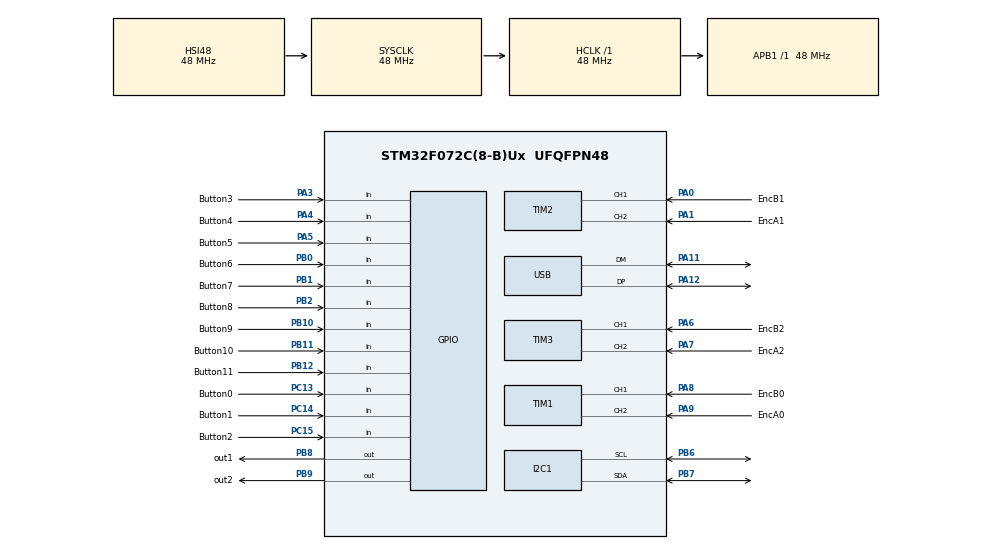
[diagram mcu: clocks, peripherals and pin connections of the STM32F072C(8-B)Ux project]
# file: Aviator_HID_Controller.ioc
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I2C1.Timing=0x00201D2B
Mcu.Family=STM32F0
Mcu.Name=STM32F072C(8-B)Ux
Mcu.Package=UFQFPN48
NVIC.USB_IRQn=true\:0\:0\:false\:false\:true\:false\:true\:true
PA0.GPIO_Label=EncB1
PA0.Signal=S_TIM2_CH1_ETR
PA1.GPIO_Label=EncA1
PA1.Signal=S_TIM2_CH2
PA11.Mode=Device
PA11.Signal=USB_DM
PA12.Mode=Device
PA12.Signal=USB_DP
PA13.Mode=Serial_Wire
PA13.Signal=SYS_SWDIO
PA14.Mode=Serial_Wire
PA14.Signal=SYS_SWCLK
PA3.GPIO_Label=Button3
PA3.GPIO_PuPd=GPIO_PULLUP
PA3.Signal=GPIO_Input
PA4.GPIO_Label=Button4
PA4.GPIO_PuPd=GPIO_PULLUP
PA4.Signal=GPIO_Input
PA5.GPIO_Label=Button5
PA5.GPIO_PuPd=GPIO_PULLUP
PA5.Signal=GPIO_Input
PA6.GPIO_Label=EncB2
PA6.Signal=S_TIM3_CH1
PA7.GPIO_Label=EncA2
PA7.Signal=S_TIM3_CH2
PA8.GPIO_Label=EncB0
PA8.Signal=S_TIM1_CH1
PA9.GPIO_Label=EncA0
PA9.Signal=S_TIM1_CH2
PB0.GPIO_Label=Button6
PB0.GPIO_PuPd=GPIO_PULLUP
PB0.Signal=GPIO_Input
PB1.GPIO_Label=Button7
PB1.GPIO_PuPd=GPIO_PULLUP
PB1.Signal=GPIO_Input
PB10.GPIO_Label=Button9
PB10.GPIO_PuPd=GPIO_PULLUP
PB10.Signal=GPIO_Input
PB11.GPIO_Label=Button10
PB11.GPIO_PuPd=GPIO_PULLUP
PB11.Signal=GPIO_Input
PB12.GPIO_Label=Button11
PB12.GPIO_PuPd=GPIO_PULLUP
PB12.Signal=GPIO_Input
PB2.GPIO_Label=Button8
PB2.GPIO_PuPd=GPIO_PULLUP
PB2.Signal=GPIO_Input
PB6.Mode=I2C
PB6.Signal=I2C1_SCL
PB7.Mode=I2C
PB7.Signal=I2C1_SDA
PB8.GPIO_Label=out1
PB8.Signal=GPIO_Output
PB9.GPIO_Label=out2
PB9.Signal=GPIO_Output
PC13.GPIO_Label=Button0
PC13.GPIO_PuPd=GPIO_PULLUP
PC13.Signal=GPIO_Input
PC14-OSC32_IN.GPIO_Label=Button1
PC14-OSC32_IN.GPIO_PuPd=GPIO_PULLUP
PC14-OSC32_IN.Signal=GPIO_Input
PC15-OSC32_OUT.GPIO_Label=Button2
PC15-OSC32_OUT.GPIO_PuPd=GPIO_PULLUP
PC15-OSC32_OUT.Signal=GPIO_Input
PF0-OSC_IN.Mode=HSE-External-Oscillator
PF0-OSC_IN.Signal=RCC_OSC_IN
PF1-OSC_OUT.Mode=HSE-External-Oscillator
PF1-OSC_OUT.Signal=RCC_OSC_OUT
ProjectManager.HeapSize=0x200
ProjectManager.StackSize=0x400
ProjectManager.TargetToolchain=STM32CubeIDE
RCC.AHBFreq_Value=48000000
RCC.APB1Freq_Value=48000000
RCC.APB1TimFreq_Value=48000000
RCC.HCLKFreq_Value=48000000
RCC.SYSCLKFreq_VALUE=48000000
RCC.SYSCLKSource=RCC_SYSCLKSOURCE_HSI48
SH.S_TIM1_CH1.0=TIM1_CH1,Encoder_Interface
SH.S_TIM1_CH2.0=TIM1_CH2,Encoder_Interface
SH.S_TIM2_CH1_ETR.0=TIM2_CH1,Encoder_Interface
SH.S_TIM2_CH2.0=TIM2_CH2,Encoder_Interface
SH.S_TIM3_CH1.0=TIM3_CH1,Encoder_Interface
SH.S_TIM3_CH2.0=TIM3_CH2,Encoder_Interface
USB_DEVICE.CLASS_NAME_FS=HID
USB_DEVICE.PRODUCT_STRING_HID_FS=STM32 Keyboard 1
USB_DEVICE.VirtualMode=Hid
USB_DEVICE.VirtualModeFS=Hid_FS
VP_USB_DEVICE_VS_USB_DEVICE_HID_FS.Mode=HID_FS
board=custom

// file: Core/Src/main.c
/* USER CODE BEGIN Header */
/**
  ******************************************************************************
  * @file           : main.c
  * @brief          : Main program body
  ******************************************************************************
  * @attention
  *
  * Copyright (c) 2024 STMicroelectronics.
  * All rights reserved.
  *
  * This software is licensed under terms that can be found in the LICENSE file
  * in the root directory of this software component.
  * If no LICENSE file comes with this software, it is provided AS-IS.
  *
  ******************************************************************************
  */
/* USER CODE END Header */
#include "main.h"
#include "usb_device.h"

/* USER CODE BEGIN Includes */
#include "usbd_hid.h"
#include "keyboard_Report_Descriptor.h"
#include <stdbool.h>
/* USER CODE END Includes */

/* USER CODE BEGIN PD */
#define DEBOUNCE_DELAY_MS 100
/* USER CODE END PD */

I2C_HandleTypeDef hi2c1;

TIM_HandleTypeDef htim1;
TIM_HandleTypeDef htim2;
TIM_HandleTypeDef htim3;

/* USER CODE BEGIN PV */
typedef enum {
    KEYCODE_A = 0x04,  // Button0
    KEYCODE_B = 0x05,  // Button1
    KEYCODE_C = 0x06,  // Button2
    KEYCODE_D = 0x07,  // Button3
    KEYCODE_E = 0x08,  // Button4
    KEYCODE_F = 0x09,  // Button5
    KEYCODE_G = 0x0A,  // Button6
    KEYCODE_H = 0x0B,  // Button7
    KEYCODE_I = 0x0C,  // Button8
    KEYCODE_J = 0x0D,  // Button9
    KEYCODE_K = 0x0E,  // Button10
    KEYCODE_L = 0x0F,  // Button11
    KEYCODE_NONE = 0x00 // No key
} KeyCode;

extern USBD_HandleTypeDef hUsbDeviceFS;

typedef struct
{
	uint8_t MODIFIER;
	uint8_t RESERVED;
	uint8_t KEYCODE1;
	uint8_t KEYCODE2;
	uint8_t KEYCODE3;
	uint8_t KEYCODE4;
	uint8_t KEYCODE5;
	uint8_t KEYCODE6;
}subKeyBoard;

subKeyBoard keyBoardHIDsub = {0,0,0,0,0,0,0,0};

typedef struct
{
    GPIO_TypeDef* port;
    uint16_t pin;
    uint8_t keycode;
} ButtonConfig;

ButtonConfig buttonConfigs[] =
{
    {Button0_GPIO_Port, Button0_Pin, KEYCODE_A},
    {Button1_GPIO_Port, Button1_Pin, KEYCODE_B},
    {Button2_GPIO_Port, Button2_Pin, KEYCODE_C},
    {Button3_GPIO_Port, Button3_Pin, KEYCODE_D},
    {Button4_GPIO_Port, Button4_Pin, KEYCODE_E},
    {Button5_GPIO_Port, Button5_Pin, KEYCODE_F},
    {Button6_GPIO_Port, Button6_Pin, KEYCODE_G},
    {Button7_GPIO_Port, Button7_Pin, KEYCODE_H},
    {Button8_GPIO_Port, Button8_Pin, KEYCODE_I},
    {Button9_GPIO_Port, Button9_Pin, KEYCODE_J},
    {Button10_GPIO_Port, Button10_Pin, KEYCODE_K},
    {Button11_GPIO_Port, Button11_Pin, KEYCODE_L}
};

/* USER CODE END PV */

void SystemClock_Config(void);
static void MX_GPIO_Init(void);
static void MX_I2C1_Init(void);
static void MX_TIM1_Init(void);
static void MX_TIM2_Init(void);
static void MX_TIM3_Init(void);

int main(void)
{

  /* MCU Configuration--------------------------------------------------------*/

  /* Reset of all peripherals, Initializes the Flash interface and the Systick. */
  HAL_Init();

  /* Configure the system clock */
  SystemClock_Config();

  /* Initialize all configured peripherals */
  MX_GPIO_Init();
  MX_I2C1_Init();
  MX_TIM1_Init();
  MX_TIM2_Init();
  MX_TIM3_Init();
  MX_USB_DEVICE_Init();
  /* USER CODE BEGIN 2 */

  // Start all timers
  HAL_TIM_Encoder_Start(&htim1, TIM_CHANNEL_ALL);
  HAL_TIM_Encoder_Start(&htim2, TIM_CHANNEL_ALL);
  HAL_TIM_Encoder_Start(&htim3, TIM_CHANNEL_ALL);

  // Store the values of timer counters
  uint32_t Enc0 = TIM1->CNT;
  uint32_t Enc1 = TIM2->CNT;
  uint32_t Enc2 = TIM3->CNT;

  /* USER CODE END 2 */

  /* Infinite loop */
  /* USER CODE BEGIN WHILE */

  volatile uint16_t debounceDelay = DEBOUNCE_DELAY_MS; // Debounce delay in ms

  while (1)
  {
    // Read encoder values and send corresponding key press
    if(TIM1->CNT > Enc0)
    {
        Enc0 = TIM1->CNT;
        keyBoardHIDsub.KEYCODE1 = 0x1E;  // Press 1 key
        USBD_HID_SendReport(&hUsbDeviceFS, &keyBoardHIDsub, sizeof(keyBoardHIDsub));
    }
    if(TIM1->CNT < Enc0)
    {
        Enc0 = TIM1->CNT;
        keyBoardHIDsub.KEYCODE1 = 0x1F;  // Press 2 key
        USBD_HID_SendReport(&hUsbDeviceFS, &keyBoardHIDsub, sizeof(keyBoardHIDsub));
    }
    if(TIM2->CNT > Enc1)
    {
        Enc1 = TIM2->CNT;
        keyBoardHIDsub.KEYCODE1 = 0x20;  // Press 3 key
        USBD_HID_SendReport(&hUsbDeviceFS, &keyBoardHIDsub, sizeof(keyBoardHIDsub));
    }
    if(TIM2->CNT < Enc1)
    {
        Enc1 = TIM2->CNT;
        keyBoardHIDsub.KEYCODE1 = 0x21;  // Press 4 key
        USBD_HID_SendReport(&hUsbDeviceFS, &keyBoardHIDsub, sizeof(keyBoardHIDsub));
    }
    if(TIM3->CNT > Enc2)
    {
        Enc2 = TIM3->CNT;
        keyBoardHIDsub.KEYCODE1 = 0x22;  // Press 5 key
        USBD_HID_SendReport(&hUsbDeviceFS, &keyBoardHIDsub, sizeof(keyBoardHIDsub));
    }
    if(TIM3->CNT < Enc2)
    {
        Enc2 = TIM3->CNT;
        keyBoardHIDsub.KEYCODE1 = 0x23;  // Press 6 key
        USBD_HID_SendReport(&hUsbDeviceFS, &keyBoardHIDsub, sizeof(keyBoardHIDsub));
    }

    // Buttons

    checkAndDebounceButtonPresses();

    HAL_Delay(50); // Main loop delay
  }
    /* USER CODE END WHILE */

}

void SystemClock_Config(void)
{
  RCC_OscInitTypeDef RCC_OscInitStruct = {0};
  RCC_ClkInitTypeDef RCC_ClkInitStruct = {0};
  RCC_PeriphCLKInitTypeDef PeriphClkInit = {0};

  /** Initializes the RCC Oscillators according to the specified parameters
  * in the RCC_OscInitTypeDef structure.
  */
  RCC_OscInitStruct.OscillatorType = RCC_OSCILLATORTYPE_HSI|RCC_OSCILLATORTYPE_HSI48;
  RCC_OscInitStruct.HSIState = RCC_HSI_ON;
  RCC_OscInitStruct.HSI48State = RCC_HSI48_ON;
  RCC_OscInitStruct.HSICalibrationValue = RCC_HSICALIBRATION_DEFAULT;
  RCC_OscInitStruct.PLL.PLLState = RCC_PLL_NONE;
  if (HAL_RCC_OscConfig(&RCC_OscInitStruct) != HAL_OK)
  {
    Error_Handler();
  }

  /** Initializes the CPU, AHB and APB buses clocks
  */
  RCC_ClkInitStruct.ClockType = RCC_CLOCKTYPE_HCLK|RCC_CLOCKTYPE_SYSCLK
                              |RCC_CLOCKTYPE_PCLK1;
  RCC_ClkInitStruct.SYSCLKSource = RCC_SYSCLKSOURCE_HSI48;
  RCC_ClkInitStruct.AHBCLKDivider = RCC_SYSCLK_DIV1;
  RCC_ClkInitStruct.APB1CLKDivider = RCC_HCLK_DIV1;

  if (HAL_RCC_ClockConfig(&RCC_ClkInitStruct, FLASH_LATENCY_1) != HAL_OK)
  {
    Error_Handler();
  }
  PeriphClkInit.PeriphClockSelection = RCC_PERIPHCLK_USB|RCC_PERIPHCLK_I2C1;
  PeriphClkInit.I2c1ClockSelection = RCC_I2C1CLKSOURCE_HSI;
  PeriphClkInit.UsbClockSelection = RCC_USBCLKSOURCE_HSI48;

  if (HAL_RCCEx_PeriphCLKConfig(&PeriphClkInit) != HAL_OK)
  {
    Error_Handler();
  }
}

static void MX_I2C1_Init(void)
{

  hi2c1.Instance = I2C1;
  hi2c1.Init.Timing = 0x00201D2B;
  hi2c1.Init.OwnAddress1 = 0;
  hi2c1.Init.AddressingMode = I2C_ADDRESSINGMODE_7BIT;
  hi2c1.Init.DualAddressMode = I2C_DUALADDRESS_DISABLE;
  hi2c1.Init.OwnAddress2 = 0;
  hi2c1.Init.OwnAddress2Masks = I2C_OA2_NOMASK;
  hi2c1.Init.GeneralCallMode = I2C_GENERALCALL_DISABLE;
  hi2c1.Init.NoStretchMode = I2C_NOSTRETCH_DISABLE;
  if (HAL_I2C_Init(&hi2c1) != HAL_OK)
  {
    Error_Handler();
  }

  /** Configure Analogue filter
  */
  if (HAL_I2CEx_ConfigAnalogFilter(&hi2c1, I2C_ANALOGFILTER_ENABLE) != HAL_OK)
  {
    Error_Handler();
  }

  /** Configure Digital filter
  */
  if (HAL_I2CEx_ConfigDigitalFilter(&hi2c1, 0) != HAL_OK)
  {
    Error_Handler();
  }

}

static void MX_TIM1_Init(void)
{

  TIM_Encoder_InitTypeDef sConfig = {0};
  TIM_MasterConfigTypeDef sMasterConfig = {0};

  htim1.Instance = TIM1;
  htim1.Init.Prescaler = 0;
  htim1.Init.CounterMode = TIM_COUNTERMODE_UP;
  htim1.Init.Period = 65535;
  htim1.Init.ClockDivision = TIM_CLOCKDIVISION_DIV1;
  htim1.Init.RepetitionCounter = 0;
  htim1.Init.AutoReloadPreload = TIM_AUTORELOAD_PRELOAD_DISABLE;
  sConfig.EncoderMode = TIM_ENCODERMODE_TI1;
  sConfig.IC1Polarity = TIM_ICPOLARITY_RISING;
  sConfig.IC1Selection = TIM_ICSELECTION_DIRECTTI;
  sConfig.IC1Prescaler = TIM_ICPSC_DIV1;
  sConfig.IC1Filter = 0;
  sConfig.IC2Polarity = TIM_ICPOLARITY_RISING;
  sConfig.IC2Selection = TIM_ICSELECTION_DIRECTTI;
  sConfig.IC2Prescaler = TIM_ICPSC_DIV1;
  sConfig.IC2Filter = 0;
  if (HAL_TIM_Encoder_Init(&htim1, &sConfig) != HAL_OK)
  {
    Error_Handler();
  }
  sMasterConfig.MasterOutputTrigger = TIM_TRGO_RESET;
  sMasterConfig.MasterSlaveMode = TIM_MASTERSLAVEMODE_DISABLE;
  if (HAL_TIMEx_MasterConfigSynchronization(&htim1, &sMasterConfig) != HAL_OK)
  {
    Error_Handler();
  }

}

static void MX_TIM2_Init(void)
{

  TIM_Encoder_InitTypeDef sConfig = {0};
  TIM_MasterConfigTypeDef sMasterConfig = {0};

  htim2.Instance = TIM2;
  htim2.Init.Prescaler = 0;
  htim2.Init.CounterMode = TIM_COUNTERMODE_UP;
  htim2.Init.Period = 4294967295;
  htim2.Init.ClockDivision = TIM_CLOCKDIVISION_DIV1;
  htim2.Init.AutoReloadPreload = TIM_AUTORELOAD_PRELOAD_DISABLE;
  sConfig.EncoderMode = TIM_ENCODERMODE_TI1;
  sConfig.IC1Polarity = TIM_ICPOLARITY_RISING;
  sConfig.IC1Selection = TIM_ICSELECTION_DIRECTTI;
  sConfig.IC1Prescaler = TIM_ICPSC_DIV1;
  sConfig.IC1Filter = 0;
  sConfig.IC2Polarity = TIM_ICPOLARITY_RISING;
  sConfig.IC2Selection = TIM_ICSELECTION_DIRECTTI;
  sConfig.IC2Prescaler = TIM_ICPSC_DIV1;
  sConfig.IC2Filter = 0;
  if (HAL_TIM_Encoder_Init(&htim2, &sConfig) != HAL_OK)
  {
    Error_Handler();
  }
  sMasterConfig.MasterOutputTrigger = TIM_TRGO_RESET;
  sMasterConfig.MasterSlaveMode = TIM_MASTERSLAVEMODE_DISABLE;
  if (HAL_TIMEx_MasterConfigSynchronization(&htim2, &sMasterConfig) != HAL_OK)
  {
    Error_Handler();
  }

}

static void MX_TIM3_Init(void)
{

  TIM_Encoder_InitTypeDef sConfig = {0};
  TIM_MasterConfigTypeDef sMasterConfig = {0};

  htim3.Instance = TIM3;
  htim3.Init.Prescaler = 0;
  htim3.Init.CounterMode = TIM_COUNTERMODE_UP;
  htim3.Init.Period = 65535;
  htim3.Init.ClockDivision = TIM_CLOCKDIVISION_DIV1;
  htim3.Init.AutoReloadPreload = TIM_AUTORELOAD_PRELOAD_DISABLE;
  sConfig.EncoderMode = TIM_ENCODERMODE_TI1;
  sConfig.IC1Polarity = TIM_ICPOLARITY_RISING;
  sConfig.IC1Selection = TIM_ICSELECTION_DIRECTTI;
  sConfig.IC1Prescaler = TIM_ICPSC_DIV1;
  sConfig.IC1Filter = 0;
  sConfig.IC2Polarity = TIM_ICPOLARITY_RISING;
  sConfig.IC2Selection = TIM_ICSELECTION_DIRECTTI;
  sConfig.IC2Prescaler = TIM_ICPSC_DIV1;
  sConfig.IC2Filter = 0;
  if (HAL_TIM_Encoder_Init(&htim3, &sConfig) != HAL_OK)
  {
    Error_Handler();
  }
  sMasterConfig.MasterOutputTrigger = TIM_TRGO_RESET;
  sMasterConfig.MasterSlaveMode = TIM_MASTERSLAVEMODE_DISABLE;
  if (HAL_TIMEx_MasterConfigSynchronization(&htim3, &sMasterConfig) != HAL_OK)
  {
    Error_Handler();
  }

}

static void MX_GPIO_Init(void)
{
  GPIO_InitTypeDef GPIO_InitStruct = {0};

  /* GPIO Ports Clock Enable */
  __HAL_RCC_GPIOC_CLK_ENABLE();
  __HAL_RCC_GPIOF_CLK_ENABLE();
  __HAL_RCC_GPIOA_CLK_ENABLE();
  __HAL_RCC_GPIOB_CLK_ENABLE();

  /*Configure GPIO pin Output Level */
  HAL_GPIO_WritePin(GPIOB, out1_Pin|out2_Pin, GPIO_PIN_RESET);

  /*Configure GPIO pins : Button0_Pin Button1_Pin Button2_Pin */
  GPIO_InitStruct.Pin = Button0_Pin|Button1_Pin|Button2_Pin;
  GPIO_InitStruct.Mode = GPIO_MODE_INPUT;
  GPIO_InitStruct.Pull = GPIO_PULLUP;
  HAL_GPIO_Init(GPIOC, &GPIO_InitStruct);

  /*Configure GPIO pins : Button3_Pin Button4_Pin Button5_Pin */
  GPIO_InitStruct.Pin = Button3_Pin|Button4_Pin|Button5_Pin;
  GPIO_InitStruct.Mode = GPIO_MODE_INPUT;
  GPIO_InitStruct.Pull = GPIO_PULLUP;
  HAL_GPIO_Init(GPIOA, &GPIO_InitStruct);

  /*Configure GPIO pins : Button6_Pin Button7_Pin Button8_Pin Button9_Pin
                           Button10_Pin Button11_Pin */
  GPIO_InitStruct.Pin = Button6_Pin|Button7_Pin|Button8_Pin|Button9_Pin
                          |Button10_Pin|Button11_Pin;
  GPIO_InitStruct.Mode = GPIO_MODE_INPUT;
  GPIO_InitStruct.Pull = GPIO_PULLUP;
  HAL_GPIO_Init(GPIOB, &GPIO_InitStruct);

  /*Configure GPIO pins : out1_Pin out2_Pin */
  GPIO_InitStruct.Pin = out1_Pin|out2_Pin;
  GPIO_InitStruct.Mode = GPIO_MODE_OUTPUT_PP;
  GPIO_InitStruct.Pull = GPIO_NOPULL;
  GPIO_InitStruct.Speed = GPIO_SPEED_FREQ_LOW;
  HAL_GPIO_Init(GPIOB, &GPIO_InitStruct);

}

/* USER CODE BEGIN 4 */
void checkAndDebounceButtonPresses()
{
    for (int i = 0; i < sizeof(buttonConfigs) / sizeof(buttonConfigs[0]); i++)
    {
        if (HAL_GPIO_ReadPin(buttonConfigs[i].port, buttonConfigs[i].pin) == GPIO_PIN_RESET)
        {
            HAL_Delay(DEBOUNCE_DELAY_MS); // Debounce delay
            if (HAL_GPIO_ReadPin(buttonConfigs[i].port, buttonConfigs[i].pin) == GPIO_PIN_RESET)
            {
                keyBoardHIDsub.KEYCODE1 = buttonConfigs[i].keycode;

                // Send the key press
                USBD_HID_SendReport(&hUsbDeviceFS, &keyBoardHIDsub, sizeof(keyBoardHIDsub));
                HAL_Delay(50);
                keyBoardHIDsub.KEYCODE1 = KEYCODE_NONE;  // Release the key
                USBD_HID_SendReport(&hUsbDeviceFS, &keyBoardHIDsub, sizeof(keyBoardHIDsub));
            }
        }
    }
}
/* USER CODE END 4 */

void Error_Handler(void)
{
  __disable_irq();
  while (1)
  {
  }
}
